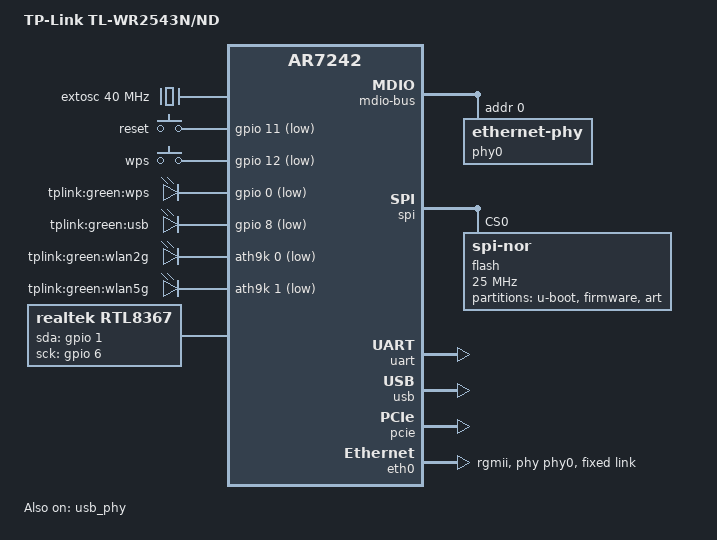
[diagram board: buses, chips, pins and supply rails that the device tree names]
// SPDX-License-Identifier: GPL-2.0-or-later OR MIT

#include "ar7242.dtsi"

#include <dt-bindings/gpio/gpio.h>
#include <dt-bindings/input/input.h>

/ {
	compatible = "tplink,tl-wr2543-v1", "qca,ar7242";
	model = "TP-Link TL-WR2543N/ND";

	aliases {
		led-boot = &led_wps;
		led-failsafe = &led_wps;
		led-running = &led_wps;
		led-upgrade = &led_wps;
		label-mac-device = &eth0;
	};

	chosen {
		bootargs = "console=ttyS0,115200n8";
	};

	extosc: ref {
		compatible = "fixed-clock";
		#clock-cells = <0>;
		clock-frequency = <40000000>;
	};

	keys {
		compatible = "gpio-keys";

		reset {
			label = "reset";
			linux,code = <KEY_RESTART>;
			gpios = <&gpio 11 GPIO_ACTIVE_LOW>;
			debounce-interval = <60>;
		};

		wps {
			label = "wps";
			linux,code = <KEY_WPS_BUTTON>;
			gpios = <&gpio 12 GPIO_ACTIVE_LOW>;
			debounce-interval = <60>;
		};
	};

	leds {
		compatible = "gpio-leds";

		led_wps: wps {
			label = "tplink:green:wps";
			gpios = <&gpio 0 GPIO_ACTIVE_LOW>;
		};

		usb {
			label = "tplink:green:usb";
			gpios = <&gpio 8 GPIO_ACTIVE_LOW>;
			trigger-sources = <&hub_port>;
			linux,default-trigger = "usbport";
		};
	};

	ath9k-leds {
		compatible = "gpio-leds";

		wlan2g {
			label = "tplink:green:wlan2g";
			gpios = <&ath9k 0 GPIO_ACTIVE_LOW>;
			linux,default-trigger = "phy0tpt";
		};

		wlan5g {
			label = "tplink:green:wlan5g";
			gpios = <&ath9k 1 GPIO_ACTIVE_LOW>;
			linux,default-trigger = "phy0tpt";
		};
	};

	rtl8367 {
		compatible = "realtek,rtl8367";
		gpio-sda = <&gpio 1 GPIO_ACTIVE_HIGH>;
		gpio-sck = <&gpio 6 GPIO_ACTIVE_HIGH>;
		realtek,extif0 = <1 0 1 1 1 1 1 1 2>;

		mdio-bus {
			#address-cells = <1>;
			#size-cells = <0>;
			status = "okay";

			phy0: ethernet-phy@0 {
				reg = <0>;
			};
		};
	};
};

&pll {
	clocks = <&extosc>;
};

&spi {
	status = "okay";

	num-cs = <1>;

	flash@0 {
		compatible = "jedec,spi-nor";
		reg = <0>;
		spi-max-frequency = <25000000>;
		m25p,fast-read;

		partitions {
			compatible = "fixed-partitions";
			#address-cells = <1>;
			#size-cells = <1>;

			uboot: partition@0 {
				label = "u-boot";
				reg = <0x000000 0x020000>;
				read-only;
			};

			partition@20000 {
				compatible = "tplink,firmware";
				label = "firmware";
				reg = <0x020000 0x7d0000>;
			};

			partition@7f0000 {
				label = "art";
				reg = <0x7f0000 0x010000>;
				read-only;
			};
		};
	};
};

&uart {
	status = "okay";
};

&usb {
	#address-cells = <1>;
	#size-cells = <0>;
	status = "okay";

	hub_port: port@1 {
		reg = <1>;
		#trigger-source-cells = <0>;
	};
};

&usb_phy {
	status = "okay";
};

&pcie {
	status = "okay";

	ath9k: wifi@0,0 {
		reg = <0x0000 0 0 0 0>;
		#gpio-cells = <2>;
		gpio-controller;
		qca,no-eeprom;
		mtd-mac-address = <&uboot 0x1fc00>;
	};
};

&eth0 {
	status = "okay";

	phy-mode = "rgmii";
	mtd-mac-address = <&uboot 0x1fc00>;

	phy-handle = <&phy0>;
	fixed-link {
		speed = <1000>;
		full-duplex;
	};
};
